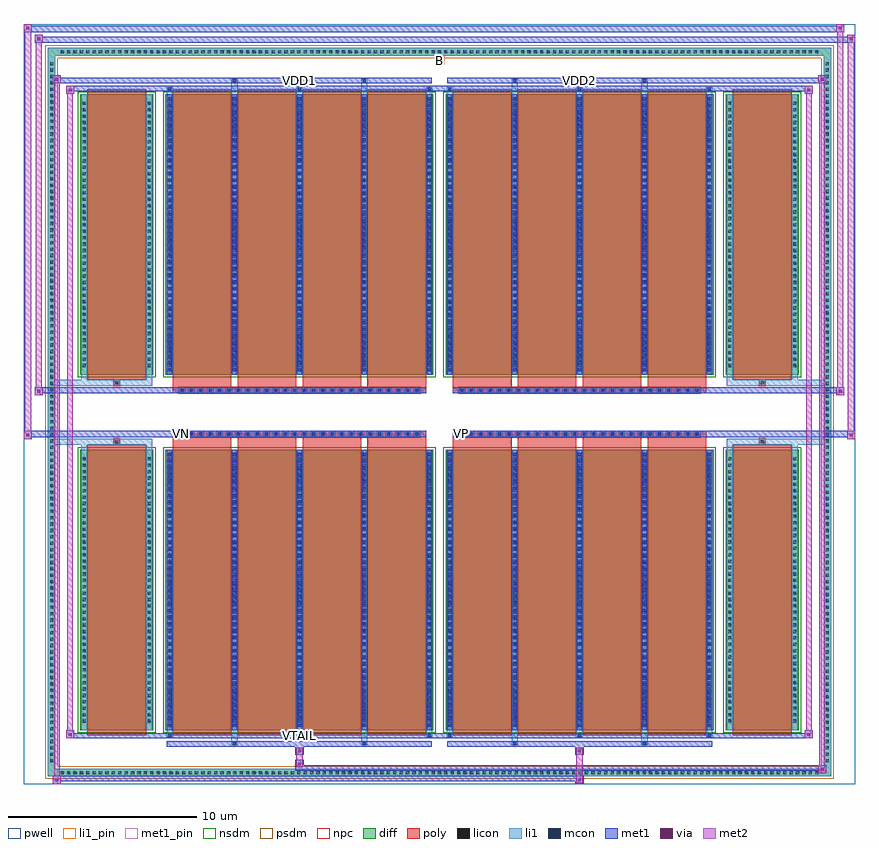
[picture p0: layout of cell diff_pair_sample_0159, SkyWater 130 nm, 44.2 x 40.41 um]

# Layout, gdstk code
import gdstk
lib = gdstk.Library(unit=1e-6, precision=5e-09)
def R(c, l, rs):  # rectangles x0, y0, x1, y1
    for r in rs: c.add(gdstk.rectangle(r[:2], r[2:], *l))
def A(c, l, x, y, w, h, nx, ny, dx, dy):  # array of equal rectangles
    R(c, l, [(x+i*dx, y+j*dy, x+i*dx+w, y+j*dy+h) for i in range(nx) for j in range(ny)])
def P(c, l, *ps):  # polygons
    for p in ps: c.add(gdstk.Polygon(p, *l))
pwell = (64, 44)
diff = (65, 20)
poly = (66, 20)
licon = (66, 44)
li1_pin = (67, 16)
li1 = (67, 20)
mcon = (67, 44)
met1_pin = (68, 16)
met1 = (68, 20)
via = (68, 44)
met2 = (69, 20)
nsdm = (93, 44)
psdm = (94, 20)
npc = (95, 20)

diff_pair_sample_0159 = lib.new_cell('diff_pair_sample_0159')
R(diff_pair_sample_0159, pwell, [(-22.1,-19.77,22.1,20.64), (-19.42,-17.96,-0.01,-0.8), (0.01,-17.96,19.42,-0.8), (-19.42,0.8,-0.01,17.96), (0.01,0.8,19.42,17.96)])
A(diff_pair_sample_0159, diff, -20.265, -19.37, 0.41, 0.41, 119, 2, 0.34, 38.33)
A(diff_pair_sample_0159, diff, -20.83, -18.735, 0.41, 0.41, 1, 110, 0, 0.34)
A(diff_pair_sample_0159, diff, 20.42, -18.735, 0.41, 0.41, 1, 110, 0, 0.34)
R(diff_pair_sample_0159, diff, [(-20.265,-19.37,20.265,-18.96), (-20.83,-18.735,-20.42,18.735), (20.42,-18.735,20.83,18.735), (-19.11,-16.915,-15.21,-1.985), (-14.57,-16.915,-0.32,-1.985), (0.32,-16.915,14.57,-1.985), (15.21,-16.915,19.11,-1.985), (-19.11,1.985,-15.21,16.915), (-14.57,1.985,-0.32,16.915), (0.32,1.985,14.57,16.915), (15.21,1.985,19.11,16.915), (-20.265,18.96,20.265,19.37)])
P(diff_pair_sample_0159, diff, [(20.83,19.37),(-20.83,19.37),(-20.83,-18.96),(-20.42,-18.96),(-20.42,18.96),(20.42,18.96),(20.42,-18.96),(-20.42,-18.96),(-20.83,-18.96),(-20.83,-19.37),(20.83,-19.37)])
A(diff_pair_sample_0159, poly, -14.18, -17.165, 3.12, 15.43, 4, 2, 3.45, 18.9)
A(diff_pair_sample_0159, poly, 0.71, -17.165, 3.12, 15.43, 4, 2, 3.45, 18.9)
A(diff_pair_sample_0159, poly, -14.18, -1.735, 3.12, 0.405, 4, 2, 3.45, 3.065)
A(diff_pair_sample_0159, poly, 0.71, -1.735, 3.12, 0.405, 4, 2, 3.45, 3.065)
A(diff_pair_sample_0159, poly, -13.86, -1.33, 0.33, 0.33, 26, 2, 0.5, 2.33)
A(diff_pair_sample_0159, poly, 1.03, -1.33, 0.33, 0.33, 26, 2, 0.5, 2.33)
R(diff_pair_sample_0159, poly, [(-18.72,-17.165,-15.6,-1.735), (15.6,-17.165,18.72,-1.735), (-17.325,-1.735,-16.995,-1.405), (-17.325,-1.735,-16.995,-1.405), (16.995,-1.735,17.325,-1.405), (16.995,-1.735,17.325,-1.405), (-14.18,-1.33,-0.71,-1), (0.71,-1.33,14.18,-1), (-14.18,1,-0.71,1.33), (0.71,1,14.18,1.33), (-17.325,1.405,-16.995,1.735), (-17.325,1.405,-16.995,1.735), (16.995,1.405,17.325,1.735), (16.995,1.405,17.325,1.735), (-18.72,1.735,-15.6,17.165), (15.6,1.735,18.72,17.165)])
A(diff_pair_sample_0159, licon, -20.145, -19.25, 0.17, 0.17, 119, 2, 0.34, 38.33)
A(diff_pair_sample_0159, licon, -20.71, -18.615, 0.17, 0.17, 1, 110, 0, 0.34)
A(diff_pair_sample_0159, licon, 20.54, -18.615, 0.17, 0.17, 1, 110, 0, 0.34)
A(diff_pair_sample_0159, licon, -18.97, -16.505, 0.17, 0.17, 1, 42, 0, 0.34)
A(diff_pair_sample_0159, licon, -15.52, -16.505, 0.17, 0.17, 1, 42, 0, 0.34)
A(diff_pair_sample_0159, licon, -14.43, -16.505, 0.17, 0.17, 5, 42, 3.45, 0.34)
A(diff_pair_sample_0159, licon, 0.46, -16.505, 0.17, 0.17, 5, 42, 3.45, 0.34)
A(diff_pair_sample_0159, licon, 15.35, -16.505, 0.17, 0.17, 1, 42, 0, 0.34)
A(diff_pair_sample_0159, licon, 18.8, -16.505, 0.17, 0.17, 1, 42, 0, 0.34)
A(diff_pair_sample_0159, licon, -13.78, -1.25, 0.17, 0.17, 26, 2, 0.5, 2.33)
A(diff_pair_sample_0159, licon, 1.11, -1.25, 0.17, 0.17, 26, 2, 0.5, 2.33)
A(diff_pair_sample_0159, licon, -18.97, 2.395, 0.17, 0.17, 1, 42, 0, 0.34)
A(diff_pair_sample_0159, licon, -15.52, 2.395, 0.17, 0.17, 1, 42, 0, 0.34)
A(diff_pair_sample_0159, licon, -14.43, 2.395, 0.17, 0.17, 5, 42, 3.45, 0.34)
A(diff_pair_sample_0159, licon, 0.46, 2.395, 0.17, 0.17, 5, 42, 3.45, 0.34)
A(diff_pair_sample_0159, licon, 15.35, 2.395, 0.17, 0.17, 1, 42, 0, 0.34)
A(diff_pair_sample_0159, licon, 18.8, 2.395, 0.17, 0.17, 1, 42, 0, 0.34)
R(diff_pair_sample_0159, licon, [(-17.245,-1.655,-17.075,-1.485), (17.075,-1.655,17.245,-1.485), (-17.245,1.485,-17.075,1.655), (17.075,1.485,17.245,1.655)])
R(diff_pair_sample_0159, li1_pin, [(-0.25,18.46,0.25,18.96)])
A(diff_pair_sample_0159, li1, -20.225, -19.33, 0.33, 0.33, 119, 2, 0.34, 38.33)
A(diff_pair_sample_0159, li1, -20.79, -18.695, 0.33, 0.33, 1, 110, 0, 0.34)
A(diff_pair_sample_0159, li1, 20.46, -18.695, 0.33, 0.33, 1, 110, 0, 0.34)
A(diff_pair_sample_0159, li1, -14.51, -17.29, 0.33, 0.375, 3, 2, 6.9, 34.205)
A(diff_pair_sample_0159, li1, -14.43, -17.29, 0.17, 0.17, 3, 2, 6.9, 34.41)
A(diff_pair_sample_0159, li1, 0.38, -17.29, 0.33, 0.375, 3, 2, 6.9, 34.205)
A(diff_pair_sample_0159, li1, 0.46, -17.29, 0.17, 0.17, 3, 2, 6.9, 34.41)
A(diff_pair_sample_0159, li1, -14.51, -16.915, 0.33, 14.93, 5, 2, 3.45, 18.9)
A(diff_pair_sample_0159, li1, 0.38, -16.915, 0.33, 14.93, 5, 2, 3.45, 18.9)
A(diff_pair_sample_0159, li1, -14.43, -16.735, 0.17, 0.17, 5, 41, 3.45, 0.36)
A(diff_pair_sample_0159, li1, -14.43, -16.735, 0.17, 14.57, 5, 2, 3.45, 18.9)
A(diff_pair_sample_0159, li1, 0.46, -16.735, 0.17, 0.17, 5, 41, 3.45, 0.36)
A(diff_pair_sample_0159, li1, 0.46, -16.735, 0.17, 14.57, 5, 2, 3.45, 18.9)
A(diff_pair_sample_0159, li1, -19.05, -16.585, 0.33, 0.33, 1, 42, 0, 0.34)
A(diff_pair_sample_0159, li1, -15.6, -16.585, 0.33, 0.33, 1, 42, 0, 0.34)
A(diff_pair_sample_0159, li1, -14.51, -16.585, 0.33, 0.33, 5, 42, 3.45, 0.34)
A(diff_pair_sample_0159, li1, 0.38, -16.585, 0.33, 0.33, 5, 42, 3.45, 0.34)
A(diff_pair_sample_0159, li1, 15.27, -16.585, 0.33, 0.33, 1, 42, 0, 0.34)
A(diff_pair_sample_0159, li1, 18.72, -16.585, 0.33, 0.33, 1, 42, 0, 0.34)
A(diff_pair_sample_0159, li1, -13.86, -1.33, 0.33, 0.33, 26, 2, 0.5, 2.33)
A(diff_pair_sample_0159, li1, 1.03, -1.33, 0.33, 0.33, 26, 2, 0.5, 2.33)
A(diff_pair_sample_0159, li1, -14.43, 2.165, 0.17, 0.17, 5, 41, 3.45, 0.36)
A(diff_pair_sample_0159, li1, 0.46, 2.165, 0.17, 0.17, 5, 41, 3.45, 0.36)
A(diff_pair_sample_0159, li1, -19.05, 2.315, 0.33, 0.33, 1, 42, 0, 0.34)
A(diff_pair_sample_0159, li1, -15.6, 2.315, 0.33, 0.33, 1, 42, 0, 0.34)
A(diff_pair_sample_0159, li1, -14.51, 2.315, 0.33, 0.33, 5, 42, 3.45, 0.34)
A(diff_pair_sample_0159, li1, 0.38, 2.315, 0.33, 0.33, 5, 42, 3.45, 0.34)
A(diff_pair_sample_0159, li1, 15.27, 2.315, 0.33, 0.33, 1, 42, 0, 0.34)
A(diff_pair_sample_0159, li1, 18.72, 2.315, 0.33, 0.33, 1, 42, 0, 0.34)
R(diff_pair_sample_0159, li1, [(-20.83,-19.37,-20.42,-18.96), (-20.83,-19.37,-20.42,-18.96), (-20.42,-19.37,20.42,-18.96), (20.42,-19.37,20.83,-18.96), (20.42,-19.37,20.83,-18.96), (-20.83,-18.96,-20.42,18.96), (20.42,-18.96,20.83,18.96), (-11.06,-17.72,-10.73,-16.915), (-10.98,-17.72,-10.81,-17.55), (-4.16,-17.72,-3.83,-16.915), (-4.08,-17.72,-3.91,-17.55), (3.83,-17.72,4.16,-16.915), (3.91,-17.72,4.08,-17.55), (10.73,-17.72,11.06,-16.915), (10.81,-17.72,10.98,-17.55), (-19.05,-16.915,-18.72,-1.985), (-15.6,-16.915,-15.27,-1.985), (15.27,-16.915,15.6,-1.985), (18.72,-16.915,19.05,-1.985), (-19.05,-1.985,-18.72,-1.405), (-15.6,-1.985,-15.27,-1.405), (15.27,-1.985,15.6,-1.405), (18.72,-1.985,19.05,-1.405), (-20.83,-1.735,-17.325,-1.405), (-19.05,-1.735,-17.325,-1.405), (-17.325,-1.735,-16.995,-1.405), (-16.995,-1.735,-15.27,-1.405), (15.27,-1.735,16.995,-1.405), (16.995,-1.735,17.325,-1.405), (16.995,-1.735,20.83,-1.405), (17.325,-1.735,19.05,-1.405), (-20.83,1.405,-17.325,1.735), (-19.05,1.405,-17.325,1.735), (-19.05,1.405,-18.72,1.985), (-17.325,1.405,-16.995,1.735), (-16.995,1.405,-15.27,1.735), (-15.6,1.405,-15.27,1.985), (15.27,1.405,16.995,1.735), (15.27,1.405,15.6,1.985), (16.995,1.405,17.325,1.735), (16.995,1.405,20.83,1.735), (17.325,1.405,19.05,1.735), (18.72,1.405,19.05,1.985), (-19.05,1.985,-18.72,16.915), (-15.6,1.985,-15.27,16.915), (15.27,1.985,15.6,16.915), (18.72,1.985,19.05,16.915), (-11.06,16.915,-10.73,17.72), (-4.16,16.915,-3.83,17.72), (3.83,16.915,4.16,17.72), (10.73,16.915,11.06,17.72), (-10.98,17.55,-10.81,17.72), (-4.08,17.55,-3.91,17.72), (3.91,17.55,4.08,17.72), (10.81,17.55,10.98,17.72), (-20.83,18.96,-20.42,19.37), (-20.83,18.96,-20.42,19.37), (-20.42,18.96,20.42,19.37), (20.42,18.96,20.83,19.37), (20.42,18.96,20.83,19.37)])
A(diff_pair_sample_0159, mcon, -14.43, -17.29, 0.17, 0.17, 3, 2, 6.9, 34.41)
A(diff_pair_sample_0159, mcon, 0.46, -17.29, 0.17, 0.17, 3, 2, 6.9, 34.41)
A(diff_pair_sample_0159, mcon, -14.43, -16.735, 0.17, 0.17, 5, 41, 3.45, 0.36)
A(diff_pair_sample_0159, mcon, 0.46, -16.735, 0.17, 0.17, 5, 41, 3.45, 0.36)
A(diff_pair_sample_0159, mcon, -13.78, -1.25, 0.17, 0.17, 26, 2, 0.5, 2.33)
A(diff_pair_sample_0159, mcon, 1.11, -1.25, 0.17, 0.17, 26, 2, 0.5, 2.33)
A(diff_pair_sample_0159, mcon, -14.43, 2.165, 0.17, 0.17, 5, 41, 3.45, 0.36)
A(diff_pair_sample_0159, mcon, 0.46, 2.165, 0.17, 0.17, 5, 41, 3.45, 0.36)
R(diff_pair_sample_0159, mcon, [(-10.98,-17.72,-10.81,-17.55), (-4.08,-17.72,-3.91,-17.55), (3.91,-17.72,4.08,-17.55), (10.81,-17.72,10.98,-17.55), (-10.98,17.55,-10.81,17.72), (-4.08,17.55,-3.91,17.72), (3.91,17.55,4.08,17.72), (10.81,17.55,10.98,17.72)])
R(diff_pair_sample_0159, met1_pin, [(-7.58,-17.33,-7.31,-17.06), (-13.83,-1.29,-13.56,-1.02), (1.06,-1.29,1.33,-1.02), (-7.58,17.51,-7.31,17.78), (7.31,17.51,7.58,17.78)])
A(diff_pair_sample_0159, met1, -14.49, -17.35, 0.29, 0.29, 3, 2, 6.9, 34.41)
A(diff_pair_sample_0159, met1, 0.4, -17.35, 0.29, 0.29, 3, 2, 6.9, 34.41)
A(diff_pair_sample_0159, met1, -14.49, -16.915, 0.29, 14.93, 5, 2, 3.45, 18.9)
A(diff_pair_sample_0159, met1, 0.4, -16.915, 0.29, 14.93, 5, 2, 3.45, 18.9)
A(diff_pair_sample_0159, met1, -14.49, -16.795, 0.29, 0.29, 5, 41, 3.45, 0.36)
A(diff_pair_sample_0159, met1, 0.4, -16.795, 0.29, 0.29, 5, 41, 3.45, 0.36)
A(diff_pair_sample_0159, met1, -13.84, -1.31, 0.29, 0.29, 26, 2, 0.5, 2.33)
A(diff_pair_sample_0159, met1, 1.05, -1.31, 0.29, 0.29, 26, 2, 0.5, 2.33)
A(diff_pair_sample_0159, met1, -14.49, 2.105, 0.29, 0.29, 5, 41, 3.45, 0.36)
A(diff_pair_sample_0159, met1, 0.4, 2.105, 0.29, 0.29, 5, 41, 3.45, 0.36)
R(diff_pair_sample_0159, met1, [(-20.56,-19.77,-20.13,-19.34), (7.23,-19.77,7.66,-19.34), (-20.56,-19.63,7.66,-19.34), (20.13,-19.2,20.56,-18.77), (-7.66,-19.06,20.56,-18.77), (-7.66,-18.92,-7.23,-18.49), (-7.66,-18.21,-7.23,-17.78), (7.23,-18.21,7.66,-17.78), (-14.49,-17.78,-0.4,-17.49), (-11.04,-17.78,-10.75,-17.49), (-4.14,-17.78,-3.85,-17.49), (0.4,-17.78,14.49,-17.49), (3.85,-17.78,4.14,-17.49), (10.75,-17.78,11.04,-17.49), (-19.85,-17.35,-19.42,-16.92), (-19.85,-17.35,-14.49,-17.06), (-14.49,-17.35,-0.4,-17.06), (-0.4,-17.35,0.4,-17.06), (0.4,-17.35,14.49,-17.06), (14.49,-17.35,19.85,-17.06), (19.42,-17.35,19.85,-16.92), (-22.1,-1.43,-21.67,-1), (21.67,-1.43,22.1,-1), (-22.1,-1.33,-0.71,-1), (-14.18,-1.33,-0.71,-1), (0.71,-1.33,14.18,-1), (0.71,-1.33,22.1,-1), (-21.53,0.9,-21.1,1.33), (21.1,0.9,21.53,1.33), (-21.53,1,-14.18,1.33), (-14.18,1,-0.71,1.33), (0.71,1,14.18,1.33), (14.18,1,21.53,1.33), (-19.85,16.92,-19.42,17.35), (19.42,16.92,19.85,17.35), (-19.85,17.06,-14.49,17.35), (-14.49,17.06,-0.4,17.35), (-0.4,17.06,0.4,17.35), (0.4,17.06,14.49,17.35), (14.49,17.06,19.85,17.35), (-20.56,17.49,-20.13,17.92), (-20.56,17.49,-14.49,17.78), (-14.49,17.49,-0.4,17.78), (-11.04,17.49,-10.75,17.78), (-4.14,17.49,-3.85,17.78), (0.4,17.49,14.49,17.78), (3.85,17.49,4.14,17.78), (10.75,17.49,11.04,17.78), (14.49,17.49,20.56,17.78), (20.13,17.49,20.56,17.92), (-21.53,19.64,-21.1,20.07), (-21.53,19.64,-19.42,19.97), (-19.42,19.64,19.42,19.97), (19.42,19.64,22.1,19.97), (21.67,19.64,22.1,20.07), (-22.1,20.21,-21.67,20.64), (-22.1,20.21,-19.42,20.54), (-19.42,20.21,19.42,20.54), (19.42,20.21,21.53,20.54), (21.1,20.21,21.53,20.64)])
R(diff_pair_sample_0159, via, [(-20.42,-19.63,-20.27,-19.48), (7.37,-19.63,7.52,-19.48), (20.27,-19.06,20.42,-18.91), (-7.52,-18.78,-7.37,-18.63), (-7.52,-18.07,-7.37,-17.92), (7.37,-18.07,7.52,-17.92), (-19.71,-17.21,-19.56,-17.06), (19.56,-17.21,19.71,-17.06), (-21.96,-1.29,-21.81,-1.14), (21.81,-1.29,21.96,-1.14), (-21.39,1.04,-21.24,1.19), (21.24,1.04,21.39,1.19), (-19.71,17.06,-19.56,17.21), (19.56,17.06,19.71,17.21), (-20.42,17.63,-20.27,17.78), (20.27,17.63,20.42,17.78), (-21.39,19.78,-21.24,19.93), (21.81,19.78,21.96,19.93), (-21.96,20.35,-21.81,20.5), (21.24,20.35,21.39,20.5)])
R(diff_pair_sample_0159, met2, [(-20.56,-19.77,-20.13,-19.34), (-20.49,-19.77,-20.2,17.92), (-20.2,-19.77,-20.13,-19.34), (-20.51,-19.72,-20.18,-19.39), (7.28,-19.72,7.61,-19.39), (7.28,-19.39,7.61,-18.16), (20.13,-19.2,20.56,-18.77), (20.2,-19.2,20.49,17.92), (20.49,-19.2,20.56,-18.77), (20.18,-19.15,20.51,-18.82), (-7.61,-18.87,-7.28,-18.54), (-7.61,-18.54,-7.28,-18.16), (-7.61,-18.16,-7.28,-17.83), (7.28,-18.16,7.61,-17.83), (-19.85,-17.35,-19.42,-16.92), (-19.78,-17.35,-19.49,17.35), (-19.49,-17.35,-19.42,-16.92), (19.42,-17.35,19.85,-16.92), (19.49,-17.35,19.78,17.35), (19.78,-17.35,19.85,-16.92), (-19.8,-17.3,-19.47,-16.97), (19.47,-17.3,19.8,-16.97), (-22.1,-1.43,-21.67,-1), (-22.05,-1.43,-21.72,20.64), (-21.72,-1.43,-21.67,-1), (21.67,-1.43,22.1,-1), (21.72,-1.43,22.05,20.07), (22.05,-1.43,22.1,-1), (-22.05,-1.38,-21.72,-1.05), (21.72,-1.38,22.05,-1.05), (-21.53,0.9,-21.1,1.33), (-21.48,0.9,-21.15,20.07), (-21.15,0.9,-21.1,1.33), (21.1,0.9,21.53,1.33), (21.15,0.9,21.48,20.64), (21.48,0.9,21.53,1.33), (-21.48,0.95,-21.15,1.28), (21.15,0.95,21.48,1.28), (-19.85,16.92,-19.42,17.35), (-19.49,16.92,-19.42,17.35), (19.42,16.92,19.85,17.35), (19.78,16.92,19.85,17.35), (-19.8,16.97,-19.47,17.3), (19.47,16.97,19.8,17.3), (-20.56,17.49,-20.13,17.92), (-20.2,17.49,-20.13,17.92), (20.13,17.49,20.56,17.92), (20.49,17.49,20.56,17.92), (-20.51,17.54,-20.18,17.87), (20.18,17.54,20.51,17.87), (-21.53,19.64,-21.1,20.07), (-21.15,19.64,-21.1,20.07), (21.67,19.64,22.1,20.07), (22.05,19.64,22.1,20.07), (-21.48,19.69,-21.15,20.02), (21.72,19.69,22.05,20.02), (-22.1,20.21,-21.67,20.64), (-21.72,20.21,-21.67,20.64), (21.1,20.21,21.53,20.64), (21.48,20.21,21.53,20.64), (-22.05,20.26,-21.72,20.59), (21.15,20.26,21.48,20.59)])
R(diff_pair_sample_0159, nsdm, [(-19.24,-17.045,-15.08,-1.855), (-14.7,-17.045,-0.19,-1.855), (0.19,-17.045,14.7,-1.855), (15.08,-17.045,19.24,-1.855), (-19.24,1.855,-15.08,17.045), (-14.7,1.855,-0.19,17.045), (0.19,1.855,14.7,17.045), (15.08,1.855,19.24,17.045)])
P(diff_pair_sample_0159, psdm, [(20.96,19.5),(-20.96,19.5),(-20.96,-18.83),(-20.29,-18.83),(-20.29,18.83),(20.29,18.83),(20.29,-18.83),(-20.29,-18.83),(-20.96,-18.83),(-20.96,-19.5),(20.96,-19.5)])
A(diff_pair_sample_0159, npc, -13.88, -1.35, 0.37, 0.37, 26, 2, 0.5, 2.33)
A(diff_pair_sample_0159, npc, 1.01, -1.35, 0.37, 0.37, 26, 2, 0.5, 2.33)
R(diff_pair_sample_0159, npc, [(-17.345,-1.755,-16.975,-1.385), (16.975,-1.755,17.345,-1.385), (-13.88,-1.35,-13.01,-0.98), (-13.88,-1.35,-13.01,-0.98), (-13.38,-1.35,-12.51,-0.98), (-13.38,-1.35,-12.51,-0.98), (-12.88,-1.35,-12.01,-0.98), (-12.88,-1.35,-12.01,-0.98), (-12.38,-1.35,-11.51,-0.98), (-12.38,-1.35,-11.51,-0.98), (-11.88,-1.35,-11.01,-0.98), (-11.88,-1.35,-11.01,-0.98), (-11.38,-1.35,-10.51,-0.98), (-11.38,-1.35,-10.51,-0.98), (-10.88,-1.35,-10.01,-0.98), (-10.88,-1.35,-10.01,-0.98), (-10.38,-1.35,-9.51,-0.98), (-10.38,-1.35,-9.51,-0.98), (-9.88,-1.35,-9.01,-0.98), (-9.88,-1.35,-9.01,-0.98), (-9.38,-1.35,-8.51,-0.98), (-9.38,-1.35,-8.51,-0.98), (-8.88,-1.35,-8.01,-0.98), (-8.88,-1.35,-8.01,-0.98), (-8.38,-1.35,-7.51,-0.98), (-8.38,-1.35,-7.51,-0.98), (-7.88,-1.35,-7.01,-0.98), (-7.88,-1.35,-7.01,-0.98), (-7.38,-1.35,-6.51,-0.98), (-7.38,-1.35,-6.51,-0.98), (-6.88,-1.35,-6.01,-0.98), (-6.88,-1.35,-6.01,-0.98), (-6.38,-1.35,-5.51,-0.98), (-6.38,-1.35,-5.51,-0.98), (-5.88,-1.35,-5.01,-0.98), (-5.88,-1.35,-5.01,-0.98), (-5.38,-1.35,-4.51,-0.98), (-5.38,-1.35,-4.51,-0.98), (-4.88,-1.35,-4.01,-0.98), (-4.88,-1.35,-4.01,-0.98), (-4.38,-1.35,-3.51,-0.98), (-4.38,-1.35,-3.51,-0.98), (-3.88,-1.35,-3.01,-0.98), (-3.88,-1.35,-3.01,-0.98), (-3.38,-1.35,-2.51,-0.98), (-3.38,-1.35,-2.51,-0.98), (-2.88,-1.35,-2.01,-0.98), (-2.88,-1.35,-2.01,-0.98), (-2.38,-1.35,-1.51,-0.98), (-2.38,-1.35,-1.51,-0.98), (-1.88,-1.35,-1.01,-0.98), (-1.88,-1.35,-1.01,-0.98), (1.01,-1.35,1.88,-0.98), (1.01,-1.35,1.88,-0.98), (1.51,-1.35,2.38,-0.98), (1.51,-1.35,2.38,-0.98), (2.01,-1.35,2.88,-0.98), (2.01,-1.35,2.88,-0.98), (2.51,-1.35,3.38,-0.98), (2.51,-1.35,3.38,-0.98), (3.01,-1.35,3.88,-0.98), (3.01,-1.35,3.88,-0.98), (3.51,-1.35,4.38,-0.98), (3.51,-1.35,4.38,-0.98), (4.01,-1.35,4.88,-0.98), (4.01,-1.35,4.88,-0.98), (4.51,-1.35,5.38,-0.98), (4.51,-1.35,5.38,-0.98), (5.01,-1.35,5.88,-0.98), (5.01,-1.35,5.88,-0.98), (5.51,-1.35,6.38,-0.98), (5.51,-1.35,6.38,-0.98), (6.01,-1.35,6.88,-0.98), (6.01,-1.35,6.88,-0.98), (6.51,-1.35,7.38,-0.98), (6.51,-1.35,7.38,-0.98), (7.01,-1.35,7.88,-0.98), (7.01,-1.35,7.88,-0.98), (7.51,-1.35,8.38,-0.98), (7.51,-1.35,8.38,-0.98), (8.01,-1.35,8.88,-0.98), (8.01,-1.35,8.88,-0.98), (8.51,-1.35,9.38,-0.98), (8.51,-1.35,9.38,-0.98), (9.01,-1.35,9.88,-0.98), (9.01,-1.35,9.88,-0.98), (9.51,-1.35,10.38,-0.98), (9.51,-1.35,10.38,-0.98), (10.01,-1.35,10.88,-0.98), (10.01,-1.35,10.88,-0.98), (10.51,-1.35,11.38,-0.98), (10.51,-1.35,11.38,-0.98), (11.01,-1.35,11.88,-0.98), (11.01,-1.35,11.88,-0.98), (11.51,-1.35,12.38,-0.98), (11.51,-1.35,12.38,-0.98), (12.01,-1.35,12.88,-0.98), (12.01,-1.35,12.88,-0.98), (12.51,-1.35,13.38,-0.98), (12.51,-1.35,13.38,-0.98), (13.01,-1.35,13.88,-0.98), (13.01,-1.35,13.88,-0.98), (-13.88,0.98,-13.01,1.35), (-13.88,0.98,-13.01,1.35), (-13.38,0.98,-12.51,1.35), (-13.38,0.98,-12.51,1.35), (-12.88,0.98,-12.01,1.35), (-12.88,0.98,-12.01,1.35), (-12.38,0.98,-11.51,1.35), (-12.38,0.98,-11.51,1.35), (-11.88,0.98,-11.01,1.35), (-11.88,0.98,-11.01,1.35), (-11.38,0.98,-10.51,1.35), (-11.38,0.98,-10.51,1.35), (-10.88,0.98,-10.01,1.35), (-10.88,0.98,-10.01,1.35), (-10.38,0.98,-9.51,1.35), (-10.38,0.98,-9.51,1.35), (-9.88,0.98,-9.01,1.35), (-9.88,0.98,-9.01,1.35), (-9.38,0.98,-8.51,1.35), (-9.38,0.98,-8.51,1.35), (-8.88,0.98,-8.01,1.35), (-8.88,0.98,-8.01,1.35), (-8.38,0.98,-7.51,1.35), (-8.38,0.98,-7.51,1.35), (-7.88,0.98,-7.01,1.35), (-7.88,0.98,-7.01,1.35), (-7.38,0.98,-6.51,1.35), (-7.38,0.98,-6.51,1.35), (-6.88,0.98,-6.01,1.35), (-6.88,0.98,-6.01,1.35), (-6.38,0.98,-5.51,1.35), (-6.38,0.98,-5.51,1.35), (-5.88,0.98,-5.01,1.35), (-5.88,0.98,-5.01,1.35), (-5.38,0.98,-4.51,1.35), (-5.38,0.98,-4.51,1.35), (-4.88,0.98,-4.01,1.35), (-4.88,0.98,-4.01,1.35), (-4.38,0.98,-3.51,1.35), (-4.38,0.98,-3.51,1.35), (-3.88,0.98,-3.01,1.35), (-3.88,0.98,-3.01,1.35), (-3.38,0.98,-2.51,1.35), (-3.38,0.98,-2.51,1.35), (-2.88,0.98,-2.01,1.35), (-2.88,0.98,-2.01,1.35), (-2.38,0.98,-1.51,1.35), (-2.38,0.98,-1.51,1.35), (-1.88,0.98,-1.01,1.35), (-1.88,0.98,-1.01,1.35), (1.01,0.98,1.88,1.35), (1.01,0.98,1.88,1.35), (1.51,0.98,2.38,1.35), (1.51,0.98,2.38,1.35), (2.01,0.98,2.88,1.35), (2.01,0.98,2.88,1.35), (2.51,0.98,3.38,1.35), (2.51,0.98,3.38,1.35), (3.01,0.98,3.88,1.35), (3.01,0.98,3.88,1.35), (3.51,0.98,4.38,1.35), (3.51,0.98,4.38,1.35), (4.01,0.98,4.88,1.35), (4.01,0.98,4.88,1.35), (4.51,0.98,5.38,1.35), (4.51,0.98,5.38,1.35), (5.01,0.98,5.88,1.35), (5.01,0.98,5.88,1.35), (5.51,0.98,6.38,1.35), (5.51,0.98,6.38,1.35), (6.01,0.98,6.88,1.35), (6.01,0.98,6.88,1.35), (6.51,0.98,7.38,1.35), (6.51,0.98,7.38,1.35), (7.01,0.98,7.88,1.35), (7.01,0.98,7.88,1.35), (7.51,0.98,8.38,1.35), (7.51,0.98,8.38,1.35), (8.01,0.98,8.88,1.35), (8.01,0.98,8.88,1.35), (8.51,0.98,9.38,1.35), (8.51,0.98,9.38,1.35), (9.01,0.98,9.88,1.35), (9.01,0.98,9.88,1.35), (9.51,0.98,10.38,1.35), (9.51,0.98,10.38,1.35), (10.01,0.98,10.88,1.35), (10.01,0.98,10.88,1.35), (10.51,0.98,11.38,1.35), (10.51,0.98,11.38,1.35), (11.01,0.98,11.88,1.35), (11.01,0.98,11.88,1.35), (11.51,0.98,12.38,1.35), (11.51,0.98,12.38,1.35), (12.01,0.98,12.88,1.35), (12.01,0.98,12.88,1.35), (12.51,0.98,13.38,1.35), (12.51,0.98,13.38,1.35), (13.01,0.98,13.88,1.35), (13.01,0.98,13.88,1.35), (-17.345,1.385,-16.975,1.755), (16.975,1.385,17.345,1.755)])
diff_pair_sample_0159.add(gdstk.Label('VTAIL', (-7.445,-17.195), layer=68, texttype=5))
diff_pair_sample_0159.add(gdstk.Label('VN', (-13.695,-1.155), layer=68, texttype=5))
diff_pair_sample_0159.add(gdstk.Label('VP', (1.195,-1.155), layer=68, texttype=5))
diff_pair_sample_0159.add(gdstk.Label('B', (0,18.71), layer=67, texttype=5))
diff_pair_sample_0159.add(gdstk.Label('VDD2', (7.445,17.645), layer=68, texttype=5))
diff_pair_sample_0159.add(gdstk.Label('VDD1', (-7.445,17.645), layer=68, texttype=5))

lib.write_gds('diff_pair_sample_0159.gds')
